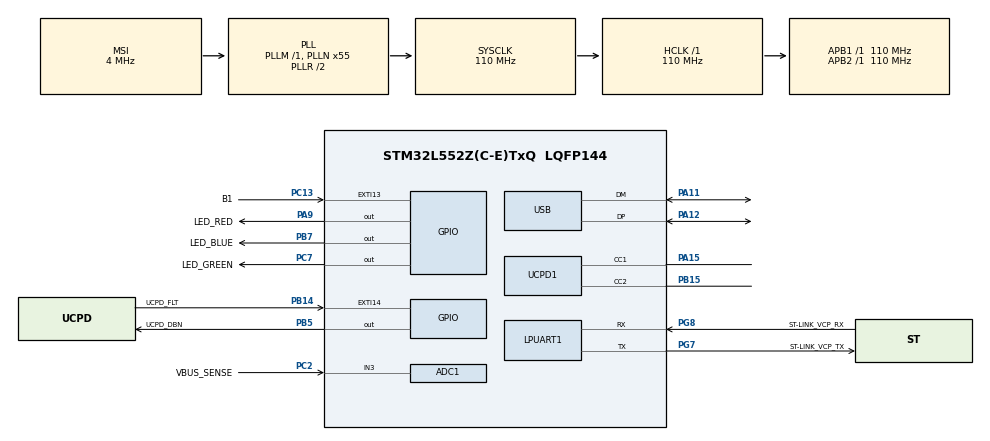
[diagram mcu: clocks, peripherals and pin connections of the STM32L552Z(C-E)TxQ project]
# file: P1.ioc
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ADC1.Channel-0\#ChannelRegularConversion=ADC_CHANNEL_3
ADC1.NbrOfConversionFlag=1
ADC1.OffsetNumber-0\#ChannelRegularConversion=ADC_OFFSET_NONE
ADC1.Rank-0\#ChannelRegularConversion=1
ADC1.SamplingTime-0\#ChannelRegularConversion=ADC_SAMPLETIME_2CYCLES_5
ADC1.master=1
Mcu.Family=STM32L5
Mcu.Name=STM32L552Z(C-E)TxQ
Mcu.Package=LQFP144
Mcu.TrustZone=disable
NVIC.EXTI13_IRQn=true\:0\:0\:false\:false\:true\:true\:true\:true
NVIC.PriorityGroup=NVIC_PRIORITYGROUP_3
PA11.Mode=Device
PA11.Signal=USB_DM
PA12.Mode=Device
PA12.Signal=USB_DP
PA13\ (JTMS/SWDIO).Mode=Trace_Asynchronous_SW
PA13\ (JTMS/SWDIO).Signal=DEBUG_JTMS-SWDIO
PA14\ (JTCK/SWCLK).Mode=Trace_Asynchronous_SW
PA14\ (JTCK/SWCLK).Signal=DEBUG_JTCK-SWCLK
PA15\ (JTDI).Mode=Source_AllSignals
PA15\ (JTDI).Signal=UCPD1_CC1
PA9.GPIO_Label=LED_RED
PA9.Signal=GPIO_Output
PB14.GPIO_Label=UCPD_FLT
PB14.Signal=GPXTI14
PB15.Mode=Source_AllSignals
PB15.Signal=UCPD1_CC2
PB3\ (JTDO/TRACESWO).Mode=Trace_Asynchronous_SW
PB3\ (JTDO/TRACESWO).Signal=DEBUG_JTDO-SWO
PB5.GPIO_Label=UCPD_DBN
PB5.Signal=GPIO_Output
PB7.GPIO_Label=LED_BLUE
PB7.Signal=GPIO_Output
PC13.GPIO_Label=B1
PC13.Signal=GPXTI13
PC14-OSC32_IN\ (PC14).Mode=LSE-External-Oscillator
PC14-OSC32_IN\ (PC14).Signal=RCC_OSC32_IN
PC15-OSC32_OUT\ (PC15).Mode=LSE-External-Oscillator
PC15-OSC32_OUT\ (PC15).Signal=RCC_OSC32_OUT
PC2.GPIO_Label=VBUS_SENSE
PC2.Signal=ADCx_IN3
PC7.GPIO_Label=LED_GREEN
PC7.Signal=GPIO_Output
PG7.GPIO_Label=ST-LINK_VCP_TX
PG7.Mode=Asynchronous
PG7.Signal=LPUART1_TX
PG8.GPIO_Label=ST-LINK_VCP_RX
PG8.Mode=Asynchronous
PG8.Signal=LPUART1_RX
ProjectManager.HeapSize=0x200
ProjectManager.StackSize=0x400
ProjectManager.TargetToolchain=STM32CubeIDE
RCC.ADCCLockSelection=RCC_ADCCLKSOURCE_SYSCLK
RCC.ADCFreq_Value=110000000
RCC.AHBFreq_Value=110000000
RCC.APB1Freq_Value=110000000
RCC.APB1TimFreq_Value=110000000
RCC.APB2Freq_Value=110000000
RCC.APB2TimFreq_Value=110000000
RCC.CK48CLockSelection=RCC_USBCLKSOURCE_HSI48
RCC.CortexFreq_Value=110000000
RCC.HCLKFreq_Value=110000000
RCC.HSE_VALUE=8000000
RCC.HSI48_VALUE=48000000
RCC.HSI_VALUE=16000000
RCC.MSI_VALUE=4000000
RCC.PLLN=55
RCC.PLLSAI1N=24
RCC.RTCClockSelection=RCC_RTCCLKSOURCE_LSE
RCC.SYSCLKFreq_VALUE=110000000
RCC.SYSCLKSource=RCC_SYSCLKSOURCE_PLLCLK
RCC.USBFreq_Value=48000000
RCC.VCOOutputFreq_Value=220000000
SH.ADCx_IN3.0=ADC1_IN3,IN3-Single-Ended
VP_ICACHE_VS_ICACHE.Mode=DirectMappedCache
VP_PWR_VS_DBSignals.Mode=DisableDeadBatterySignals
VP_RTC_VS_RTC_Activate.Mode=RTC_Enabled
board=NUCLEO-L552ZE-Q

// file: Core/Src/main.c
/* USER CODE BEGIN Header */
/**
  ******************************************************************************
  * @file           : main.c
  * @brief          : Main program body
  ******************************************************************************
  * @attention
  *
  * Copyright (c) 2024 STMicroelectronics.
  * All rights reserved.
  *
  * This software is licensed under terms that can be found in the LICENSE file
  * in the root directory of this software component.
  * If no LICENSE file comes with this software, it is provided AS-IS.
  *
  ******************************************************************************
  */
/* USER CODE END Header */
#include "main.h"

ADC_HandleTypeDef hadc1;

UART_HandleTypeDef hlpuart1;

RTC_HandleTypeDef hrtc;

PCD_HandleTypeDef hpcd_USB_FS;

/* USER CODE BEGIN PV */
uint8_t flag = 0; // variable afectada por la interrupcion
int estado = 0; //variable que almacena el estado de parpadeo(1) o apagado(0)

/* USER CODE END PV */

void SystemClock_Config(void);
static void MX_GPIO_Init(void);
static void MX_ADC1_Init(void);
static void MX_ICACHE_Init(void);
static void MX_LPUART1_UART_Init(void);
static void MX_RTC_Init(void);
static void MX_UCPD1_Init(void);
static void MX_USB_PCD_Init(void);

int main(void)
{

  /* MCU Configuration--------------------------------------------------------*/

  /* Reset of all peripherals, Initializes the Flash interface and the Systick. */
  HAL_Init();

  /* Configure the system clock */
  SystemClock_Config();

  /* Initialize all configured peripherals */
  MX_GPIO_Init();
  MX_ADC1_Init();
  MX_ICACHE_Init();
  MX_LPUART1_UART_Init();
  MX_RTC_Init();
  MX_UCPD1_Init();
  MX_USB_PCD_Init();

  /* Infinite loop */
  /* USER CODE BEGIN WHILE */

  while (1)
  {
	  if(flag == 1){// Si detecta una interrupcion flag==1 y entra en el if

		  if(estado==1){
			  estado=0;
		  }else{
			  estado=1;
		  }
		  flag=0;
	  }
	if(estado==1){ // cuando el estado sea el 1 queremos que paarpadee

		HAL_GPIO_TogglePin(LED_GREEN_GPIO_Port,LED_GREEN_Pin);
//		HAL_GPIO_WritePin(LED_GREEN_GPIO_Port, LED_GREEN_Pin, GPIO_PIN_SET);
//		HAL_Delay(500);
//		HAL_GPIO_WritePin(LED_GREEN_GPIO_Port, LED_GREEN_Pin, GPIO_PIN_RESET);
		HAL_Delay(500);

	}else{ // en otro caso queremos que se apague
		HAL_GPIO_WritePin(LED_GREEN_GPIO_Port, LED_GREEN_Pin, GPIO_PIN_RESET);
	}
    /* USER CODE END WHILE */

  }
}

void SystemClock_Config(void)
{
  RCC_OscInitTypeDef RCC_OscInitStruct = {0};
  RCC_ClkInitTypeDef RCC_ClkInitStruct = {0};

  /** Configure the main internal regulator output voltage
  */
  if (HAL_PWREx_ControlVoltageScaling(PWR_REGULATOR_VOLTAGE_SCALE0) != HAL_OK)
  {
    Error_Handler();
  }

  /** Configure LSE Drive Capability
  */
  HAL_PWR_EnableBkUpAccess();
  __HAL_RCC_LSEDRIVE_CONFIG(RCC_LSEDRIVE_LOW);

  /** Initializes the RCC Oscillators according to the specified parameters
  * in the RCC_OscInitTypeDef structure.
  */
  RCC_OscInitStruct.OscillatorType = RCC_OSCILLATORTYPE_HSI48|RCC_OSCILLATORTYPE_HSI
                              |RCC_OSCILLATORTYPE_LSE|RCC_OSCILLATORTYPE_MSI;
  RCC_OscInitStruct.LSEState = RCC_LSE_ON;
  RCC_OscInitStruct.HSIState = RCC_HSI_ON;
  RCC_OscInitStruct.HSI48State = RCC_HSI48_ON;
  RCC_OscInitStruct.HSICalibrationValue = RCC_HSICALIBRATION_DEFAULT;
  RCC_OscInitStruct.MSIState = RCC_MSI_ON;
  RCC_OscInitStruct.MSICalibrationValue = RCC_MSICALIBRATION_DEFAULT;
  RCC_OscInitStruct.MSIClockRange = RCC_MSIRANGE_6;
  RCC_OscInitStruct.PLL.PLLState = RCC_PLL_ON;
  RCC_OscInitStruct.PLL.PLLSource = RCC_PLLSOURCE_MSI;
  RCC_OscInitStruct.PLL.PLLM = 1;
  RCC_OscInitStruct.PLL.PLLN = 55;
  RCC_OscInitStruct.PLL.PLLP = RCC_PLLP_DIV7;
  RCC_OscInitStruct.PLL.PLLQ = RCC_PLLQ_DIV2;
  RCC_OscInitStruct.PLL.PLLR = RCC_PLLR_DIV2;
  if (HAL_RCC_OscConfig(&RCC_OscInitStruct) != HAL_OK)
  {
    Error_Handler();
  }

  /** Initializes the CPU, AHB and APB buses clocks
  */
  RCC_ClkInitStruct.ClockType = RCC_CLOCKTYPE_HCLK|RCC_CLOCKTYPE_SYSCLK
                              |RCC_CLOCKTYPE_PCLK1|RCC_CLOCKTYPE_PCLK2;
  RCC_ClkInitStruct.SYSCLKSource = RCC_SYSCLKSOURCE_PLLCLK;
  RCC_ClkInitStruct.AHBCLKDivider = RCC_SYSCLK_DIV1;
  RCC_ClkInitStruct.APB1CLKDivider = RCC_HCLK_DIV1;
  RCC_ClkInitStruct.APB2CLKDivider = RCC_HCLK_DIV1;

  if (HAL_RCC_ClockConfig(&RCC_ClkInitStruct, FLASH_LATENCY_5) != HAL_OK)
  {
    Error_Handler();
  }
}

static void MX_ADC1_Init(void)
{

  ADC_MultiModeTypeDef multimode = {0};
  ADC_ChannelConfTypeDef sConfig = {0};

  /** Common config
  */
  hadc1.Instance = ADC1;
  hadc1.Init.ClockPrescaler = ADC_CLOCK_ASYNC_DIV1;
  hadc1.Init.Resolution = ADC_RESOLUTION_12B;
  hadc1.Init.DataAlign = ADC_DATAALIGN_RIGHT;
  hadc1.Init.ScanConvMode = ADC_SCAN_DISABLE;
  hadc1.Init.EOCSelection = ADC_EOC_SINGLE_CONV;
  hadc1.Init.LowPowerAutoWait = DISABLE;
  hadc1.Init.ContinuousConvMode = DISABLE;
  hadc1.Init.NbrOfConversion = 1;
  hadc1.Init.DiscontinuousConvMode = DISABLE;
  hadc1.Init.ExternalTrigConv = ADC_SOFTWARE_START;
  hadc1.Init.ExternalTrigConvEdge = ADC_EXTERNALTRIGCONVEDGE_NONE;
  hadc1.Init.DMAContinuousRequests = DISABLE;
  hadc1.Init.Overrun = ADC_OVR_DATA_PRESERVED;
  hadc1.Init.OversamplingMode = DISABLE;
  if (HAL_ADC_Init(&hadc1) != HAL_OK)
  {
    Error_Handler();
  }

  /** Configure the ADC multi-mode
  */
  multimode.Mode = ADC_MODE_INDEPENDENT;
  if (HAL_ADCEx_MultiModeConfigChannel(&hadc1, &multimode) != HAL_OK)
  {
    Error_Handler();
  }

  /** Configure Regular Channel
  */
  sConfig.Channel = ADC_CHANNEL_3;
  sConfig.Rank = ADC_REGULAR_RANK_1;
  sConfig.SamplingTime = ADC_SAMPLETIME_2CYCLES_5;
  sConfig.SingleDiff = ADC_SINGLE_ENDED;
  sConfig.OffsetNumber = ADC_OFFSET_NONE;
  sConfig.Offset = 0;
  if (HAL_ADC_ConfigChannel(&hadc1, &sConfig) != HAL_OK)
  {
    Error_Handler();
  }

}

static void MX_ICACHE_Init(void)
{

  /** Enable instruction cache in 1-way (direct mapped cache)
  */
  if (HAL_ICACHE_ConfigAssociativityMode(ICACHE_1WAY) != HAL_OK)
  {
    Error_Handler();
  }
  if (HAL_ICACHE_Enable() != HAL_OK)
  {
    Error_Handler();
  }

}

static void MX_LPUART1_UART_Init(void)
{

  hlpuart1.Instance = LPUART1;
  hlpuart1.Init.BaudRate = 209700;
  hlpuart1.Init.WordLength = UART_WORDLENGTH_8B;
  hlpuart1.Init.StopBits = UART_STOPBITS_1;
  hlpuart1.Init.Parity = UART_PARITY_NONE;
  hlpuart1.Init.Mode = UART_MODE_TX_RX;
  hlpuart1.Init.HwFlowCtl = UART_HWCONTROL_NONE;
  hlpuart1.Init.OneBitSampling = UART_ONE_BIT_SAMPLE_DISABLE;
  hlpuart1.Init.ClockPrescaler = UART_PRESCALER_DIV1;
  hlpuart1.AdvancedInit.AdvFeatureInit = UART_ADVFEATURE_NO_INIT;
  hlpuart1.FifoMode = UART_FIFOMODE_DISABLE;
  if (HAL_UART_Init(&hlpuart1) != HAL_OK)
  {
    Error_Handler();
  }
  if (HAL_UARTEx_SetTxFifoThreshold(&hlpuart1, UART_TXFIFO_THRESHOLD_1_8) != HAL_OK)
  {
    Error_Handler();
  }
  if (HAL_UARTEx_SetRxFifoThreshold(&hlpuart1, UART_RXFIFO_THRESHOLD_1_8) != HAL_OK)
  {
    Error_Handler();
  }
  if (HAL_UARTEx_DisableFifoMode(&hlpuart1) != HAL_OK)
  {
    Error_Handler();
  }

}

static void MX_RTC_Init(void)
{

  RTC_PrivilegeStateTypeDef privilegeState = {0};

  /** Initialize RTC Only
  */
  hrtc.Instance = RTC;
  hrtc.Init.HourFormat = RTC_HOURFORMAT_24;
  hrtc.Init.AsynchPrediv = 127;
  hrtc.Init.SynchPrediv = 255;
  hrtc.Init.OutPut = RTC_OUTPUT_DISABLE;
  hrtc.Init.OutPutRemap = RTC_OUTPUT_REMAP_NONE;
  hrtc.Init.OutPutPolarity = RTC_OUTPUT_POLARITY_HIGH;
  hrtc.Init.OutPutType = RTC_OUTPUT_TYPE_OPENDRAIN;
  hrtc.Init.OutPutPullUp = RTC_OUTPUT_PULLUP_NONE;
  if (HAL_RTC_Init(&hrtc) != HAL_OK)
  {
    Error_Handler();
  }
  privilegeState.rtcPrivilegeFull = RTC_PRIVILEGE_FULL_NO;
  privilegeState.backupRegisterPrivZone = RTC_PRIVILEGE_BKUP_ZONE_NONE;
  privilegeState.backupRegisterStartZone2 = RTC_BKP_DR0;
  privilegeState.backupRegisterStartZone3 = RTC_BKP_DR0;
  if (HAL_RTCEx_PrivilegeModeSet(&hrtc, &privilegeState) != HAL_OK)
  {
    Error_Handler();
  }

}

static void MX_UCPD1_Init(void)
{

  LL_GPIO_InitTypeDef GPIO_InitStruct = {0};

  /* Peripheral clock enable */
  LL_APB1_GRP2_EnableClock(LL_APB1_GRP2_PERIPH_UCPD1);

  LL_AHB2_GRP1_EnableClock(LL_AHB2_GRP1_PERIPH_GPIOB);
  LL_AHB2_GRP1_EnableClock(LL_AHB2_GRP1_PERIPH_GPIOA);
  /**UCPD1 GPIO Configuration
  PB15   ------> UCPD1_CC2
  PA15 (JTDI)   ------> UCPD1_CC1
  */
  GPIO_InitStruct.Pin = LL_GPIO_PIN_15;
  GPIO_InitStruct.Mode = LL_GPIO_MODE_ANALOG;
  GPIO_InitStruct.Pull = LL_GPIO_PULL_NO;
  LL_GPIO_Init(GPIOB, &GPIO_InitStruct);

  GPIO_InitStruct.Pin = LL_GPIO_PIN_15;
  GPIO_InitStruct.Mode = LL_GPIO_MODE_ANALOG;
  GPIO_InitStruct.Pull = LL_GPIO_PULL_NO;
  LL_GPIO_Init(GPIOA, &GPIO_InitStruct);

}

static void MX_USB_PCD_Init(void)
{

  hpcd_USB_FS.Instance = USB;
  hpcd_USB_FS.Init.dev_endpoints = 8;
  hpcd_USB_FS.Init.speed = PCD_SPEED_FULL;
  hpcd_USB_FS.Init.phy_itface = PCD_PHY_EMBEDDED;
  hpcd_USB_FS.Init.Sof_enable = DISABLE;
  hpcd_USB_FS.Init.low_power_enable = DISABLE;
  hpcd_USB_FS.Init.lpm_enable = DISABLE;
  hpcd_USB_FS.Init.battery_charging_enable = DISABLE;
  if (HAL_PCD_Init(&hpcd_USB_FS) != HAL_OK)
  {
    Error_Handler();
  }

}

static void MX_GPIO_Init(void)
{
  GPIO_InitTypeDef GPIO_InitStruct = {0};

  /* GPIO Ports Clock Enable */
  __HAL_RCC_GPIOC_CLK_ENABLE();
  __HAL_RCC_GPIOB_CLK_ENABLE();
  __HAL_RCC_GPIOG_CLK_ENABLE();
  HAL_PWREx_EnableVddIO2();
  __HAL_RCC_GPIOA_CLK_ENABLE();

  /*Configure GPIO pin Output Level */
  HAL_GPIO_WritePin(LED_GREEN_GPIO_Port, LED_GREEN_Pin, GPIO_PIN_RESET);

  /*Configure GPIO pin Output Level */
  HAL_GPIO_WritePin(LED_RED_GPIO_Port, LED_RED_Pin, GPIO_PIN_RESET);

  /*Configure GPIO pin Output Level */
  HAL_GPIO_WritePin(GPIOB, UCPD_DBN_Pin|LED_BLUE_Pin, GPIO_PIN_RESET);

  /*Configure GPIO pin : B1_Pin */
  GPIO_InitStruct.Pin = B1_Pin;
  GPIO_InitStruct.Mode = GPIO_MODE_IT_RISING;
  GPIO_InitStruct.Pull = GPIO_NOPULL;
  HAL_GPIO_Init(B1_GPIO_Port, &GPIO_InitStruct);

  /*Configure GPIO pin : UCPD_FLT_Pin */
  GPIO_InitStruct.Pin = UCPD_FLT_Pin;
  GPIO_InitStruct.Mode = GPIO_MODE_IT_RISING;
  GPIO_InitStruct.Pull = GPIO_NOPULL;
  HAL_GPIO_Init(UCPD_FLT_GPIO_Port, &GPIO_InitStruct);

  /*Configure GPIO pin : LED_GREEN_Pin */
  GPIO_InitStruct.Pin = LED_GREEN_Pin;
  GPIO_InitStruct.Mode = GPIO_MODE_OUTPUT_PP;
  GPIO_InitStruct.Pull = GPIO_NOPULL;
  GPIO_InitStruct.Speed = GPIO_SPEED_FREQ_LOW;
  HAL_GPIO_Init(LED_GREEN_GPIO_Port, &GPIO_InitStruct);

  /*Configure GPIO pin : LED_RED_Pin */
  GPIO_InitStruct.Pin = LED_RED_Pin;
  GPIO_InitStruct.Mode = GPIO_MODE_OUTPUT_PP;
  GPIO_InitStruct.Pull = GPIO_NOPULL;
  GPIO_InitStruct.Speed = GPIO_SPEED_FREQ_LOW;
  HAL_GPIO_Init(LED_RED_GPIO_Port, &GPIO_InitStruct);

  /*Configure GPIO pins : UCPD_DBN_Pin LED_BLUE_Pin */
  GPIO_InitStruct.Pin = UCPD_DBN_Pin|LED_BLUE_Pin;
  GPIO_InitStruct.Mode = GPIO_MODE_OUTPUT_PP;
  GPIO_InitStruct.Pull = GPIO_NOPULL;
  GPIO_InitStruct.Speed = GPIO_SPEED_FREQ_LOW;
  HAL_GPIO_Init(GPIOB, &GPIO_InitStruct);

  /* EXTI interrupt init*/
  HAL_NVIC_SetPriority(EXTI13_IRQn, 0, 0);
  HAL_NVIC_EnableIRQ(EXTI13_IRQn);

}

/* USER CODE BEGIN 4 */

void HAL_GPIO_EXTI_Rising_Callback(uint16_t GPIO_Pin){ // esta funcion se ejecuta al detectar una interrupcion
	flag=1;
}

/* USER CODE END 4 */

void Error_Handler(void)
{
  __disable_irq();
  while (1)
  {
  }
}
